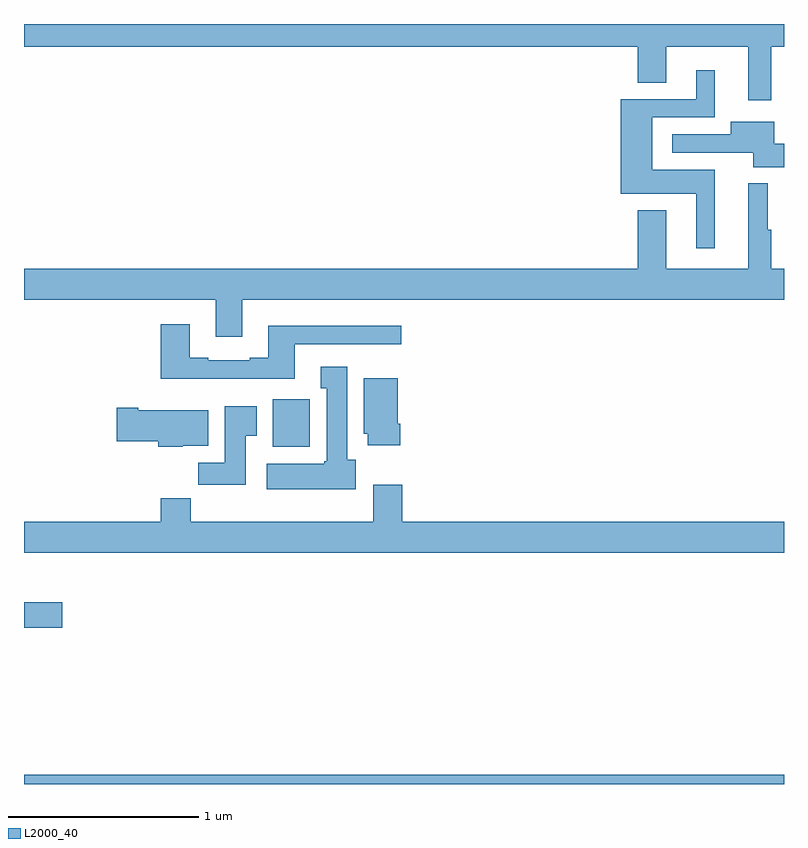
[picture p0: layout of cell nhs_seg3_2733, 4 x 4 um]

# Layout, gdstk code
import gdstk
lib = gdstk.Library(unit=1e-6, precision=1e-09)
def R(c, l, rs):  # rectangles x0, y0, x1, y1
    for r in rs: c.add(gdstk.rectangle(r[:2], r[2:], *l))
def P(c, l, *ps):  # polygons
    for p in ps: c.add(gdstk.Polygon(p, *l))
L2000_40 = (2000, 40)

nhs_seg3_2733 = lib.new_cell('nhs_seg3_2733')
R(nhs_seg3_2733, L2000_40, [(253,666.4,257,666.448), (253,667.223,253.201,667.357), (254.309,668.174,254.505,668.425)])
P(nhs_seg3_2733, L2000_40, [(256.933,670.28),(257,670.28),(257,670.4),(253,670.4),(253,670.28),(256.229,670.28),(256.229,670.09),(256.381,670.09),(256.381,670.28),(256.811,670.28),(256.811,669.999),(256.933,669.999)],
  [(256.636,669.634),(256.306,669.634),(256.306,669.909),(256.636,669.909),(256.636,670.156),(256.538,670.156),(256.538,670.005),(256.142,670.005),(256.142,669.506),(256.538,669.506),(256.538,669.219),(256.636,669.219)],
  [(257,669.77),(256.948,669.77),(256.948,669.886),(256.721,669.886),(256.721,669.819),(256.413,669.819),(256.413,669.723),(256.838,669.723),(256.838,669.647),(257,669.647)],
  [(254.149,668.948),(257,668.948),(257,669.112),(256.933,669.112),(256.933,669.317),(256.915,669.317),(256.915,669.562),(256.811,669.562),(256.811,669.112),(256.381,669.112),(256.381,669.421),(256.229,669.421),(256.229,669.112),(253,669.112),(253,668.948),(254.009,668.948),(254.009,668.754),(254.149,668.754)],
  [(254.425,668.715),(254.986,668.715),(254.986,668.812),(254.285,668.812),(254.285,668.644),(254.189,668.644),(254.189,668.631),(253.969,668.631),(253.969,668.644),(253.873,668.644),(253.873,668.821),(253.721,668.821),(253.721,668.534),(254.425,668.534)],
  [(254.746,668.106),(254.701,668.106),(254.701,668.596),(254.561,668.596),(254.561,668.483),(254.594,668.483),(254.594,668.1),(254.581,668.1),(254.581,668.086),(254.277,668.086),(254.277,667.952),(254.746,667.952)],
  [(254.981,668.296),(254.968,668.296),(254.968,668.536),(254.789,668.536),(254.789,668.244),(254.81,668.244),(254.81,668.184),(254.981,668.184)],
  [(254.167,668.233),(254.224,668.233),(254.224,668.389),(254.057,668.389),(254.057,668.092),(253.918,668.092),(253.918,667.974),(254.167,667.974)],
  [(253.836,668.18),(253.969,668.18),(253.969,668.368),(253.6,668.368),(253.6,668.381),(253.488,668.381),(253.488,668.203),(253.706,668.203),(253.706,668.174),(253.836,668.174)],
  [(257,667.78),(254.99,667.78),(254.99,667.975),(254.837,667.975),(254.837,667.78),(253.877,667.78),(253.877,667.904),(253.721,667.904),(253.721,667.78),(253,667.78),(253,667.616),(257,667.616)])

lib.write_gds('nhs_seg3_2733.gds')
